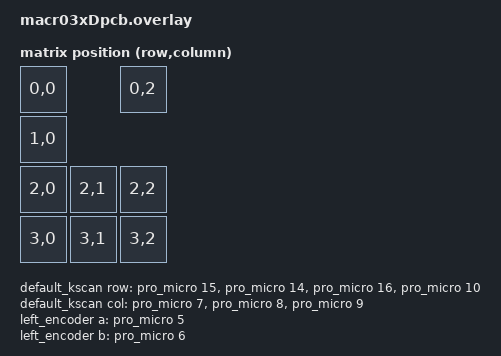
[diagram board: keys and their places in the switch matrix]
#include <dt-bindings/zmk/matrix_transform.h> // Put this with the other includes at the top of your
#include <physical_layouts.dtsi>


/ {  
    default_kscan: kscan {
        compatible = "zmk,kscan-gpio-matrix";
        label = "default_kscan";
        diode-direction = "col2row";

        row-gpios = <&pro_micro 15 (GPIO_ACTIVE_HIGH | GPIO_PULL_DOWN)>,
                    <&pro_micro 14 (GPIO_ACTIVE_HIGH | GPIO_PULL_DOWN)>,
                    <&pro_micro 16 (GPIO_ACTIVE_HIGH | GPIO_PULL_DOWN)>,
                    <&pro_micro 10 (GPIO_ACTIVE_HIGH | GPIO_PULL_DOWN)>;

        col-gpios = <&pro_micro 7 GPIO_ACTIVE_HIGH>,
                    <&pro_micro 8 GPIO_ACTIVE_HIGH>,
                    <&pro_micro 9 GPIO_ACTIVE_HIGH>;
    };
    
    default_transform: matrix_transform {
        compatible = "zmk,matrix-transform";
        rows = <4>;
        columns = <3>;

        map = <
            RC(0,0)         RC(0,2) 
            RC(1,0)         
            RC(2,0) RC(2,1) RC(2,2)
            RC(3,0) RC(3,1) RC(3,2) 
        >;
    };
    
    physical_layout0: physical_layout_0 { 
        compatible = "zmk,physical-layout";
        display-name = "macr03xD";
        kscan = <&default_kscan>; // Label of the kscan node, optional if all layouts use the same
        transform = <&default_transform>; // Label of the matrix transform for this layout
    };
    
    chosen {
        zmk,physical-layout = &physical_layout0;
        // Other chosen items
    };
      
    left_encoder: encoder_left {
    	compatible = "alps,ec11";
    	a-gpios = <&pro_micro 5 (GPIO_ACTIVE_HIGH | GPIO_PULL_UP)>;
    	b-gpios = <&pro_micro 6 (GPIO_ACTIVE_HIGH | GPIO_PULL_UP)>;
    	steps = <20>;
    	status = "okay";
    };
    
    sensors: sensors {
    	compatible = "zmk,keymap-sensors";
    	sensors = <&left_encoder>;
    	triggers-per-rotation = <5>;
    };
    
};


/ {
    physical_layout0: physical_layout_0 { // First physical layout, use different naming for other layouts
        compatible = "zmk,physical-layout";
        display-name = "Default Layout";
        kscan = <&default_kscan>; // Label of the kscan node, optional if all layouts use the same
        transform = <&default_transform>; // Label of the matrix transform for this layout
        keys  //                     w   h     x    y     rot    rx    ry
            = <&key_physical_attrs 100 100     0   0       0     0     0> // Row 1
            , <&key_physical_attrs 100 100   200   0       0     0     0>
            , <&key_physical_attrs 100 100     0 100       0     0     0> // Row 2
            , <&key_physical_attrs 100 100     0 200       0     0     0> // Row 3
            , <&key_physical_attrs 100 100   100 200       0     0     0>
            , <&key_physical_attrs 100 100   200 200       0     0     0>
            , <&key_physical_attrs 100 100     0 300       0     0     0> // Row 4
            , <&key_physical_attrs 100 100   100 300       0     0     0>
            , <&key_physical_attrs 100 100   200 300       0     0     0>
            ;
    };
};

